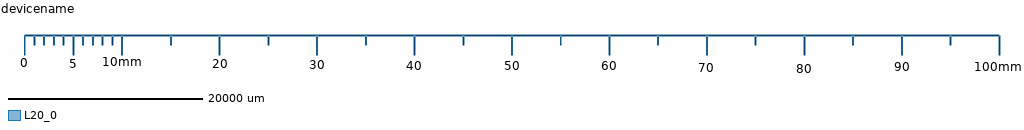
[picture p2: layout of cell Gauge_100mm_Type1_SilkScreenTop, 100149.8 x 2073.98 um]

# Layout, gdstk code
import gdstk
lib = gdstk.Library(unit=1e-6, precision=1e-09)
L20_0 = (20, 0)

gauge_100mm_type1_silksc = lib.new_cell('Gauge_100mm_Type1_SilkScreenTop')
gauge_100mm_type1_silksc.add(gdstk.FlexPath([(9999.98,0),(9999.98,-1998.98)], 149.998, ends="flush", simple_path=True, layer=20, datatype=0))  # L20_0
gauge_100mm_type1_silksc.add(gdstk.FlexPath([(0,0),(9999.98,0)], 149.998, ends="flush", simple_path=True, layer=20, datatype=0))  # L20_0
gauge_100mm_type1_silksc.add(gdstk.FlexPath([(0,0),(0,-1998.98)], 149.998, ends="flush", simple_path=True, layer=20, datatype=0))  # L20_0
gauge_100mm_type1_silksc.add(gdstk.FlexPath([(5001.26,0),(5001.26,-1998.98)], 149.998, ends="flush", simple_path=True, layer=20, datatype=0))  # L20_0
gauge_100mm_type1_silksc.add(gdstk.FlexPath([(1000.76,0),(1000.76,-1000.76)], 149.998, ends="flush", simple_path=True, layer=20, datatype=0))  # L20_0
gauge_100mm_type1_silksc.add(gdstk.FlexPath([(1998.98,0),(1998.98,-1000.76)], 149.998, ends="flush", simple_path=True, layer=20, datatype=0))  # L20_0
gauge_100mm_type1_silksc.add(gdstk.FlexPath([(2999.74,0),(2999.74,-1000.76)], 149.998, ends="flush", simple_path=True, layer=20, datatype=0))  # L20_0
gauge_100mm_type1_silksc.add(gdstk.FlexPath([(4000.5,0),(4000.5,-1000.76)], 149.998, ends="flush", simple_path=True, layer=20, datatype=0))  # L20_0
gauge_100mm_type1_silksc.add(gdstk.FlexPath([(5999.48,0),(5999.48,-1000.76)], 149.998, ends="flush", simple_path=True, layer=20, datatype=0))  # L20_0
gauge_100mm_type1_silksc.add(gdstk.FlexPath([(7000.24,0),(7000.24,-1000.76)], 149.998, ends="flush", simple_path=True, layer=20, datatype=0))  # L20_0
gauge_100mm_type1_silksc.add(gdstk.FlexPath([(8001,0),(8001,-1000.76)], 149.998, ends="flush", simple_path=True, layer=20, datatype=0))  # L20_0
gauge_100mm_type1_silksc.add(gdstk.FlexPath([(8999.22,0),(8999.22,-1000.76)], 149.998, ends="flush", simple_path=True, layer=20, datatype=0))  # L20_0
gauge_100mm_type1_silksc.add(gdstk.FlexPath([(99999.8,0),(99999.8,-1998.98)], 149.998, ends="flush", simple_path=True, layer=20, datatype=0))  # L20_0
gauge_100mm_type1_silksc.add(gdstk.FlexPath([(9999.98,0),(99999.8,0)], 149.998, ends="flush", simple_path=True, layer=20, datatype=0))  # L20_0
gauge_100mm_type1_silksc.add(gdstk.FlexPath([(15001.24,0),(15001.24,-1000.76)], 149.998, ends="flush", simple_path=True, layer=20, datatype=0))  # L20_0
gauge_100mm_type1_silksc.add(gdstk.FlexPath([(19999.96,0),(19999.96,-1998.98)], 149.998, ends="flush", simple_path=True, layer=20, datatype=0))  # L20_0
gauge_100mm_type1_silksc.add(gdstk.FlexPath([(25001.22,0),(25001.22,-1000.76)], 149.998, ends="flush", simple_path=True, layer=20, datatype=0))  # L20_0
gauge_100mm_type1_silksc.add(gdstk.FlexPath([(29999.94,0),(29999.94,-1998.98)], 149.998, ends="flush", simple_path=True, layer=20, datatype=0))  # L20_0
gauge_100mm_type1_silksc.add(gdstk.FlexPath([(35001.2,0),(35001.2,-1000.76)], 149.998, ends="flush", simple_path=True, layer=20, datatype=0))  # L20_0
gauge_100mm_type1_silksc.add(gdstk.FlexPath([(39999.92,0),(39999.92,-1998.98)], 149.998, ends="flush", simple_path=True, layer=20, datatype=0))  # L20_0
gauge_100mm_type1_silksc.add(gdstk.FlexPath([(45001.18,0),(45001.18,-1000.76)], 149.998, ends="flush", simple_path=True, layer=20, datatype=0))  # L20_0
gauge_100mm_type1_silksc.add(gdstk.FlexPath([(49999.9,0),(49999.9,-1998.98)], 149.998, ends="flush", simple_path=True, layer=20, datatype=0))  # L20_0
gauge_100mm_type1_silksc.add(gdstk.FlexPath([(55001.16,0),(55001.16,-1000.76)], 149.998, ends="flush", simple_path=True, layer=20, datatype=0))  # L20_0
gauge_100mm_type1_silksc.add(gdstk.FlexPath([(59999.88,0),(59999.88,-1998.98)], 149.998, ends="flush", simple_path=True, layer=20, datatype=0))  # L20_0
gauge_100mm_type1_silksc.add(gdstk.FlexPath([(65001.14,0),(65001.14,-1000.76)], 149.998, ends="flush", simple_path=True, layer=20, datatype=0))  # L20_0
gauge_100mm_type1_silksc.add(gdstk.FlexPath([(69999.86,0),(69999.86,-1998.98)], 149.998, ends="flush", simple_path=True, layer=20, datatype=0))  # L20_0
gauge_100mm_type1_silksc.add(gdstk.FlexPath([(75001.12,0),(75001.12,-1000.76)], 149.998, ends="flush", simple_path=True, layer=20, datatype=0))  # L20_0
gauge_100mm_type1_silksc.add(gdstk.FlexPath([(79999.84,0),(79999.84,-1998.98)], 149.998, ends="flush", simple_path=True, layer=20, datatype=0))  # L20_0
gauge_100mm_type1_silksc.add(gdstk.FlexPath([(85001.1,0),(85001.1,-1000.76)], 149.998, ends="flush", simple_path=True, layer=20, datatype=0))  # L20_0
gauge_100mm_type1_silksc.add(gdstk.FlexPath([(89999.82,0),(89999.82,-1998.98)], 149.998, ends="flush", simple_path=True, layer=20, datatype=0))  # L20_0
gauge_100mm_type1_silksc.add(gdstk.FlexPath([(95001.08,0),(95001.08,-1000.76)], 149.998, ends="flush", simple_path=True, layer=20, datatype=0))  # L20_0
gauge_100mm_type1_silksc.add(gdstk.Label('10mm', (9999.98,-2700.02), layer=9, texttype=0))
gauge_100mm_type1_silksc.add(gdstk.Label('0', (0,-2799.08), layer=9, texttype=0))
gauge_100mm_type1_silksc.add(gdstk.Label('5', (4998.72,-2900.68), layer=9, texttype=0))
gauge_100mm_type1_silksc.add(gdstk.Label('20', (20099.02,-2900.68), layer=9, texttype=0))
gauge_100mm_type1_silksc.add(gdstk.Label('30', (29999.94,-2999.74), layer=9, texttype=0))
gauge_100mm_type1_silksc.add(gdstk.Label('40', (39999.92,-3101.34), layer=9, texttype=0))
gauge_100mm_type1_silksc.add(gdstk.Label('50', (49999.9,-3101.34), layer=9, texttype=0))
gauge_100mm_type1_silksc.add(gdstk.Label('60', (59999.88,-3101.34), layer=9, texttype=0))
gauge_100mm_type1_silksc.add(gdstk.Label('70', (69999.86,-3302), layer=9, texttype=0))
gauge_100mm_type1_silksc.add(gdstk.Label('80', (79999.84,-3401.06), layer=9, texttype=0))
gauge_100mm_type1_silksc.add(gdstk.Label('90', (90101.42,-3202.94), layer=9, texttype=0))
gauge_100mm_type1_silksc.add(gdstk.Label('100mm', (100101.4,-3202.94), layer=9, texttype=0))
gauge_100mm_type1_silksc.add(gdstk.Label('type', (45999.4,-8999.22), layer=9, texttype=0))
gauge_100mm_type1_silksc.add(gdstk.Label('devicename', (0,2999.74), layer=9, texttype=0))

lib.write_gds('Gauge_100mm_Type1_SilkScreenTop.gds')
